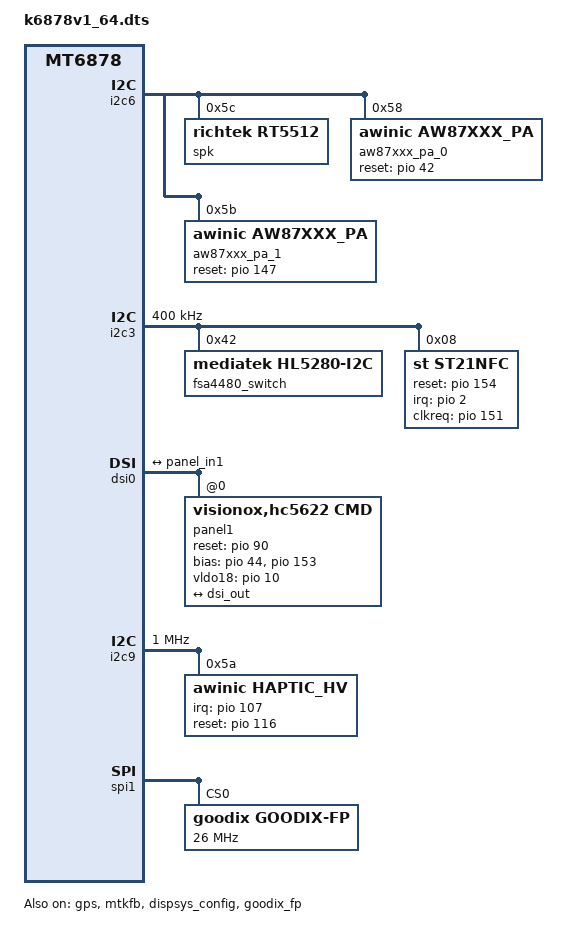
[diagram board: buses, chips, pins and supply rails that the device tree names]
// SPDX-License-Identifier: (GPL-2.0 OR MIT)
/*
 * Copyright (C) 2022 MediaTek Inc.
 */
/dts-v1/;
/plugin/;
#include <dt-bindings/interrupt-controller/arm-gic.h>
#include <dt-bindings/interrupt-controller/irq.h>
#include <dt-bindings/phy/phy.h>
#include <dt-bindings/pinctrl/mt6878-pinfunc.h>

#if 0
#include <dt-bindings/pinctrl/mt6897-pinfunc.h>
#endif

/* Trustonic Mobilecore real driver */
&mobicore{
       trustonic,real-drv = <1>;
};


&chosen {
bootargs_ext = "";
};

&pdc {
	pd-vbus-upper-bound = <9000000>;
};

#if 1

&connfem {
/* Enable epa_elna node to support Wifi & BT ePA/eLNA FEM on customer load */
#if 0
	epa-elna {
		parts = <&wlan7207h &wlan7207c>;
		wifi {
			flags-0 {
				open-loop;
			};
		};
		bt {
			flags-0 {
				/* choose one of: epa-elna/epa/elna/bypass */
				epa-elna;
			};
		};
	};
#endif
};

/* GPS GPIO standardization start */
&pio {
	gps_pins_default: gps-default {
	};
	gps_l1_lna_pins_ol: gps-l1-lna0 {
		pins-cmd-dat {
			pinmux = <PINMUX_GPIO186__FUNC_GPIO186>;
			output-low;
		};
	};
	gps_l1_lna_pins_dsp_ctrl: gps-l1-lna1 {
		pins-cmd-dat {
			pinmux = <PINMUX_GPIO186__FUNC_GPS_L1_ELNA_EN>;
		};
	};
	gps_l1_lna_pins_oh: gps-l1-lna2 {
		pins-cmd-dat {
			pinmux = <PINMUX_GPIO186__FUNC_GPIO186>;
			output-high;
		};
	};
	gps_l5_lna_pins_ol: gps-l5-lna0 {
		pins-cmd-dat {
			pinmux = <PINMUX_GPIO187__FUNC_GPIO187>;
			output-low;
		};
	};
	gps_l5_lna_pins_dsp_ctrl: gps-l5-lna1 {
		pins-cmd-dat {
			pinmux = <PINMUX_GPIO187__FUNC_GPS_L5_ELNA_EN>;
		};
	};
	gps_l5_lna_pins_oh: gps-l5-lna2 {
		pins-cmd-dat {
			pinmux = <PINMUX_GPIO187__FUNC_GPIO187>;
			output-high;
		};
	};
};
&gps {
	pinctrl-names = "default",
		"gps_l1_lna_disable",
		"gps_l1_lna_dsp_ctrl",
		"gps_l1_lna_enable",
		"gps_l5_lna_disable",
		"gps_l5_lna_dsp_ctrl",
		"gps_l5_lna_enable";
	pinctrl-0 = <&gps_pins_default>;
	pinctrl-1 = <&gps_l1_lna_pins_ol>;
	pinctrl-2 = <&gps_l1_lna_pins_dsp_ctrl>;
	pinctrl-3 = <&gps_l1_lna_pins_oh>;
	pinctrl-4 = <&gps_l5_lna_pins_ol>;
	pinctrl-5 = <&gps_l5_lna_pins_dsp_ctrl>;
	pinctrl-6 = <&gps_l5_lna_pins_oh>;
	status = "okay";
};
/* GPS GPIO standardization end */

#endif

&i2c6 {
        spk: speaker-amp@5c {
                compatible = "richtek,rt5512";
                #address-cells = <1>;
                #size-cells = <0>;
                #sound-dai-cells = <0>;
                reg = <0x5c>;
                status = "okay";
                sound-name-prefix = "Left";
        };
};

/* AWINIC AW87565 Smart PA stereo*/
&i2c6 {
	aw87xxx_pa_0: aw87xxx_pa_0@58 {  //rcv/spk
		compatible = "awinic,aw87xxx_pa";
		reg = <0x58>;
		dev_index = <1>;
		reset-gpio = <&pio 42 0>;
		status = "okay";
	};

	aw87xxx_pa_1: aw87xxx_pa_1@5B {  //spk
		compatible = "awinic,aw87xxx_pa";
		reg = <0x5B>;
		dev_index = <0>;
		reset-gpio = <&pio 147 0>;
		status = "okay";
	};
};

//hl5280 accdet
&i2c3 {
	fsa4480_switch: fsa4480_switch@42 {
		compatible = "mediatek,hl5280-i2c";
		reg = <0x42>;
		// mic and gnd swap threshold in mV,
		// only used when FSA4480_SWITCH_BY_ACCDET_ADC set
		mic_swap_thr = <200>;
		status = "okay";
	};
};

//HAC
&pio {
    hac_default: hac_default {
        pins_cmd_dat {
            pinmux = <PINMUX_GPIO30__FUNC_GPIO30>;
            slew-rate = <1>; // 0:input, 1:output
            bias-disable;
            output-low;
        };
    };
    hac_high: hac_high {
        pins_cmd_dat {
            pinmux = <PINMUX_GPIO30__FUNC_GPIO30>;
            slew-rate = <1>;
            bias-disable;
            output-high;
        };
    };
    hac_low: hac_low {
        pins_cmd_dat {
            pinmux = <PINMUX_GPIO30__FUNC_GPIO30>;
            slew-rate = <1>;
            bias-disable;
            output-low;
        };
    };
};

&odm {
    hac: hac {
        compatible = "prize,hac-gpio";
        pinctrl-names = "default", "hac_high", "hac_low";
        pinctrl-0 = <&hac_default>;
        pinctrl-1 = <&hac_high>;
        pinctrl-2 = <&hac_low>;
        status = "okay";
    };
};

&sound {
	mediatek,spk-i2s = <25 24>;
	mediatek,speaker-codec {
		sound-dai = <&spk>;
	};
};



&mtkfb {
	pinctrl-names = "lcd_bias_enp1_gpio", "lcd_bias_enp0_gpio",
		"lcd_bias_enn1_gpio", "lcd_bias_enn0_gpio",
		"lcm_rst_out1_gpio", "lcm_rst_out0_gpio",
		"mode_te_te", "lcm_led_en1_gpio", "lcm_led_en0_gpio";
	pinctrl-0 = <&mtkfb_pins_lcd_bias_enp1>;
	pinctrl-1 = <&mtkfb_pins_lcd_bias_enp0>;
	pinctrl-2 = <&mtkfb_pins_lcd_bias_enn1>;
	pinctrl-3 = <&mtkfb_pins_lcd_bias_enn0>;
	pinctrl-4 = <&mtkfb_pins_lcm_rst_out1_gpio>;
	pinctrl-5 = <&mtkfb_pins_lcm_rst_out0_gpio>;
	pinctrl-6 = <&mtkfb_pins_lcm_dsi_te>;
	pinctrl-7 = <&mtkfb_pins_lcm_led_en1>;
	pinctrl-8 = <&mtkfb_pins_lcm_led_en0>;

	status = "okay";
};

&pio {
	mtkfb_pins_lcd_bias_enp1: lcd-bias-enp1-gpio {
		pins-cmd-dat {
			pinmux = <PINMUX_GPIO149__FUNC_GPIO149>;
			slew-rate = <1>;
			output-high;
		};
	};

	mtkfb_pins_lcd_bias_enp0: lcd-bias-enp0-gpio {
		pins-cmd-dat {
			pinmux = <PINMUX_GPIO149__FUNC_GPIO149>;
			slew-rate = <1>;
			output-low;
		};
	};

	mtkfb_pins_lcd_bias_enn1: lcd-bias-enn1-gpio {
		pins-cmd-dat {
			pinmux = <PINMUX_GPIO149__FUNC_GPIO149>;
			slew-rate = <1>;
			output-high;
		};
	};

	mtkfb_pins_lcd_bias_enn0: lcd-bias-enn0-gpio {
		pins-cmd-dat {
			pinmux = <PINMUX_GPIO149__FUNC_GPIO149>;
			slew-rate = <1>;
			output-low;
		};
	};

	mtkfb_pins_lcm_rst_out1_gpio: lcm-rst-out1-gpio {
		pins-cmd-dat {
			pinmux = <PINMUX_GPIO90__FUNC_GPIO90>;
			slew-rate = <1>;
			output-high;
		};
	};

	mtkfb_pins_lcm_rst_out0_gpio: lcm-rst-out0-gpio {
		pins-cmd-dat {
			pinmux = <PINMUX_GPIO90__FUNC_GPIO90>;
			slew-rate = <1>;
			output-low;
		};
	};
	mtkfb_pins_lcm_dsi_te: lcm-dsi-te {
		pins-cmd-dat {
			pinmux = <PINMUX_GPIO89__FUNC_DSI_TE>;
		};
	};

	mtkfb_pins_lcm_led_en1: lcm-led-en1-gpio {
		pins-cmd-dat {
			pinmux = <PINMUX_GPIO149__FUNC_GPIO149>;
			slew-rate = <1>;
			output-high;
		};
	};

	mtkfb_pins_lcm_led_en0: lcm-led-en0-gpio {
		pins-cmd-dat {
			pinmux = <PINMUX_GPIO149__FUNC_GPIO149>;
			slew-rate = <1>;
			output-low;
		};
	};
};

&dispsys_config {
	pinctrl-names = "mode_te_te";
	pinctrl-0 = <&mtkfb_pins_lcm_dsi_te>;
	status = "okay";
};

&dsi0 {
	status = "okay";
	#address-cells = <1>;
	#size-cells = <0>;
	switch-fps = <120>;
	panel1@0 {
		compatible = "visionox,hc5622,cmd";
		reg = <0>;
		reset-gpios = <&pio 90 0>;
		bias-gpios = <&pio 44 0>,
				<&pio 153 0>;
		vldo18-gpios = <&pio 10 0>;

		pinctrl-names = "default";
		port {
			panel_in1: endpoint {
				remote-endpoint = <&dsi_out>;
			};
		};
	};

	ports {
		port {
			dsi_out: endpoint {
				remote-endpoint = <&panel_in1>;
			};
		};
	};
};

&audio_sram {
	reg = <0 0x11059000 0 0xc000>;
	mode-size = <0xc000 0x11300>;
};

&audio_xhci_sram {
	reg = <0 0x11065000 0 0x3900>;
	mode-size = <0x3900>;
	afe-reserved;
};

&mt6363_vbuck1 {
	regulator-always-on;
};

&mt6363_vbuck2 {
	regulator-always-on;
};

&mt6363_vsram_digrf {
	regulator-always-on;
};

&mt6363_vcn15 {
	regulator-always-on;
};

//drv add fangduozhu, LRA AW86927FCR bringup, 20250425 start
&i2c9 {
	clock-frequency = <1000000>;
	status = "okay";

	haptic_hv@5A {
		compatible = "awinic,haptic_hv";
		reg = <0x5A>;
		status = "okay";
		irq-gpio = <&pio 107 0>;
		reset-gpio = <&pio 116 0>;
		pinctrl-names = "irq_active";
		pinctrl-0 = <&irq_active_default>;
		f0_pre = < 1700 >;
		mode = /bits/ 8 < 5 >;
		aw8692x_f0_cali_percent = /bits/ 8 < 7 >;
		aw8692x_gain_bypass = /bits/ 8 < 1 >;
		aw8692x_cont_drv1_lvl = /bits/ 8 < 0x7F >;
		aw8692x_cont_lra_vrms = < 1000 >; /* Motor rated voltage, mV */
		aw8692x_cont_drv1_time = /bits/ 8 < 0x04 >;
		aw8692x_cont_drv2_time = /bits/ 8 < 0x06 >;
		aw8692x_cont_track_margin = /bits/ 8 < 0x0F >;
		aw8692x_cont_brk_gain = /bits/ 8 < 0x08 >;
		aw8692x_cont_bst_brk_gain = /bits/ 8 < 0x05 >;
		aw8692x_cont_wait_num = /bits/ 8 < 0x06 >;
		aw8692x_cont_brk_time = /bits/ 8 < 0x08 >;
		aw8692x_brk_bst_md = /bits/ 8 < 0 >;
		aw8692x_cont_tset = /bits/ 8 < 0x06 >;
		aw8692x_cont_bemf_set = /bits/ 8 < 0x02 >;
		aw8692x_duration_time = /bits/ 8 < 20 30 60 >;
		aw8692x_d2s_gain = /bits/ 8 < 0x04 >;
		aw8692x_trig_config = /bits/ 8 < 0 0 0 1 0 2 0 0
						 0 0 0 1 0 2 0 0
						 0 0 0 1 0 2 0 0 >;
		aw8692x_bst_vol_default = < 9000 >;
		aw8692x_is_enabled_track_en;
		/* aw8692x_is_enabled_auto_bst; */
		/* aw8692x_is_enabled_one_wire; */
	};
};

&pio {
	irq_active_default: irq_active_default {
		pins_cmd_dat {
			pinmux = <PINMUX_GPIO107__FUNC_GPIO107>;
			input-enable;
			bias-pull-up = <00>;
		};
	};
};
//drv add fangduozhu, LRA AW86927FCR bringup, 20250425 end
/*add by driver for nfc bringup start*/
&i2c3 {
    clock-frequency = <400000>;
	st21nfc: st21nfc@08 {
		compatible = "st,st21nfc";
		reg = <0x08>;
		interrupt-parent = <&pio>;
		interrupts = <2 0>;
		reset-gpios = <&pio 154 0x00>;
		irq-gpios = <&pio 2 0x00>;
		clkreq-gpios = <&pio 151 0x00>;
		status = "ok";
	};
};
/*add by driver for nfc bringup end*/
//pri add for goodix fingerprint
&spi1{
	#address-cells = <1>;
	#size-cells = <0>;
	goodix: gffingerprint@spi1 {
		compatible = "goodix,goodix-fp";
		reg = <0>;
		spi-max-frequency = <26000000>;
		status = "okay";
	};
};
&goodix_fp {
	interrupt-parent = <&pio>;
	interrupts = <13 IRQ_TYPE_EDGE_RISING 13 0>;
	VFP-supply = <&mt6369_vfp>;
	//fpid-gpio = <&pio 12 0>;
	goodix-fp,use-dts-chip-info;
	goodix-fp,chip-name = "GW9598";
	goodix-fp,chip-id = /bits/ 16 <0x1261>;
	pinctrl-names = "default","fingerprint_irq", "fp_reset_high", "fp_reset_low", "miso_spi",
					"miso_pullhigh", "miso_pulllow", "fpc_mosi_pull_up", "fpc_mosi_pull_down";
	pinctrl-0 = <&fpc_pins_default>;
	pinctrl-1 = <&fpc_pins_eint_as_int>;
	pinctrl-2 = <&fpc_pins_rst_high>;
	pinctrl-3 = <&fpc_pins_rst_low>;
	pinctrl-4 = <&fpc_mode_as_cs &fpc_mode_as_ck &fpc_mode_as_mi &fpc_mode_as_mo>;
	pinctrl-5 = <&fpc_miso_pull_up>;
	pinctrl-6 = <&fpc_miso_pull_down>;
	pinctrl-7 = <&fpc_mosi_pull_up>;
	pinctrl-8 = <&fpc_mosi_pull_down>;
	status = "okay";
};
&pio {
	fpc_pins_default: fpcdefault {
	};
	fpc_pins_eint_as_int: fpceint@0 {
		pins_cmd_dat {
			pinmux = <PINMUX_GPIO13__FUNC_GPIO13>;
			slew-rate = <0>;
			bias-disable;
		};
	};
	fpc_pins_rst_high: fpcrsthigh {
		pins_cmd_dat {
			pinmux = <PINMUX_GPIO155__FUNC_GPIO155>;
			slew-rate = <1>;
			output-high;
		};
	};
	fpc_pins_rst_low: fpcrstlow {
		pins_cmd_dat {
			pinmux = <PINMUX_GPIO155__FUNC_GPIO155>;
			slew-rate = <1>;
			output-low;
		};
	};
	fpc_mode_as_cs: fpccs {
		pins_cmd_dat {
			pinmux = <PINMUX_GPIO61__FUNC_SPI1_CSB>;
			bias-pull-up = <00>;
		};
	};
	fpc_mode_as_ck: fpcck {
		pins_cmd_dat {
			pinmux = <PINMUX_GPIO60__FUNC_SPI1_CLK>;
			bias-pull-up = <00>;
		};
	};
	fpc_mode_as_mi: fpcmi {
		pins_cmd_dat {
			pinmux = <PINMUX_GPIO63__FUNC_SPI1_MI>;
			bias-pull-up = <00>;
		};
	};
	fpc_mode_as_mo: fpcmo {
		pins_cmd_dat {
			pinmux = <PINMUX_GPIO62__FUNC_SPI1_MO>;
			bias-pull-down = <00>;
		};
	};
	fpc_miso_pull_up: fpcmisoup {
		pins_cmd_dat {
			pinmux = <PINMUX_GPIO63__FUNC_GPIO63>;
			slew-rate = <1>;
			output-high;
		};
	};
	fpc_miso_pull_down: fpcmisolow {
		pins_cmd_dat {
			pinmux = <PINMUX_GPIO63__FUNC_GPIO63>;
			slew-rate = <1>;
			output-low;
		};
	};
	fpc_mosi_pull_up: fpcmosiup {
		pins_cmd_dat {
			pinmux = <PINMUX_GPIO62__FUNC_GPIO62>;
			slew-rate = <1>;
			output-high;
		};
	};
	fpc_mosi_pull_down: fpcmosilow {
		pins_cmd_dat {
			pinmux = <PINMUX_GPIO62__FUNC_GPIO62>;
			slew-rate = <1>;
			output-low;
		};
	};
};
/* pri fingerprint add by cjd  end */

#include <k6878v1_64/cust.dtsi>
#include "mediatek/cust_mt6878_touch_1080x2400.dtsi"
#include "mediatek/cust_mt6878_camera_v4l2.dtsi"
#include "mediatek/upm6722.dtsi"
#include "mediatek/cust_charger.dtsi"
#include "mediatek/cust_k6878_connfem.dtsi"
/* prize add by chenwenhui for camera ldo wl28681 start */
#include "mediatek/wl28681.dtsi"
/* prize add by chenwenhui for camera ldo wl28681 end */
/*End of this file, DO NOT ADD ANYTHING HERE*/
